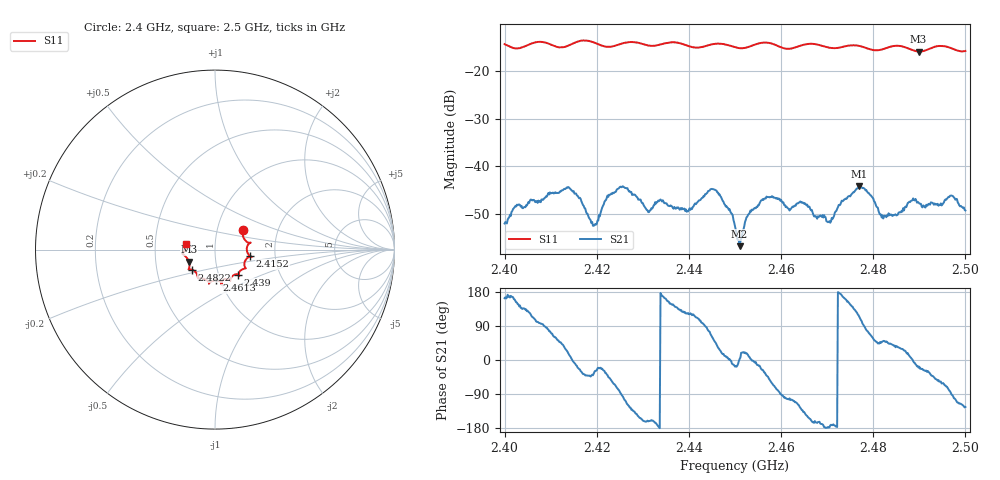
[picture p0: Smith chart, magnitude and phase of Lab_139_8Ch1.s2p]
# Hz S RI R 50
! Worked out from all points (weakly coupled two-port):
!   601 points, 2.4 GHz to 2.5 GHz, reference 50 ohm
!   highest |S21| = -44.17 dB at 2.477 GHz (marker M1); lowest = -56.8 dB at 2.451 GHz (marker M2)
!   lowest |S11| = -15.9 dB at 2.4898 GHz (marker M3), VSWR 1.38, Z = 37 - j5.04 ohm
!   |S11| at or under -10 dB: start of sweep to end of sweep
!   S12 and S22 are empty: the file has one direction only
!   S11 on the Smith chart (normalised r, x): 2.4 GHz: 1.33, +0.31; 2.4152 GHz: 1.48, -0.11; 2.439 GHz: 1.24, -0.36; 2.4613 GHz: 0.96, -0.34; 2.4822 GHz: 0.76, -0.17; 2.5 GHz: 0.72, +0.05
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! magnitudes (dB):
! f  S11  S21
! 2.4 GHz  -14.4  -52.0
! 2.4027 GHz  -15.3  -48.1
! 2.4152 GHz  -14.1  -45.8
! 2.4167 GHz  -13.6  -47.4
! 2.4195 GHz  -14.0  -52.3
! 2.4252 GHz  -14.3  -44.3
! 2.4312 GHz  -14.6  -49.6
! 2.4333 GHz  -14.5  -47.2
! 2.439 GHz  -14.5  -48.9
! 2.4455 GHz  -14.3  -44.9
! 2.45 GHz  -15.0  -52.7
! 2.451 GHz  -15.2  -56.8
! 2.456 GHz  -14.1  -46.9
! 2.4613 GHz  -15.3  -48.7
! 2.4667 GHz  -14.3  -49.2
! 2.4703 GHz  -15.1  -51.7
! 2.477 GHz  -14.7  -44.2
! 2.4822 GHz  -15.4  -51.0
! 2.4833 GHz  -15.0  -49.9
! 2.4898 GHz  -15.9  -47.6
! 2.497 GHz  -15.2  -46.2
! 2.5 GHz  -15.8  -49.3
